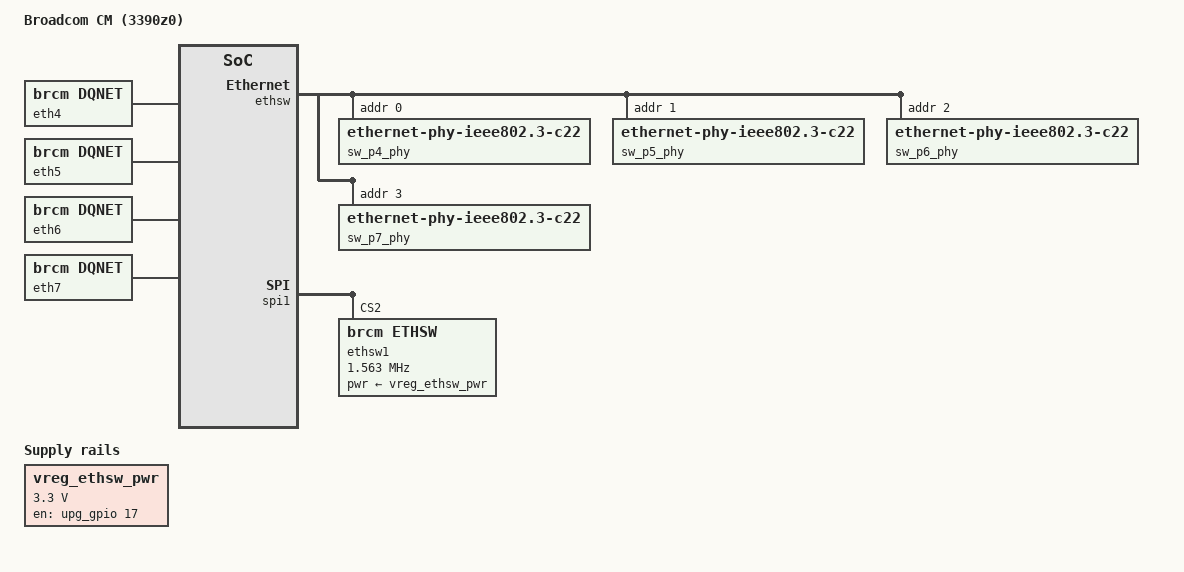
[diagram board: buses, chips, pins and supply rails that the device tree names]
/dts-v1/;

/ {
	model = "Broadcom CM (3390z0)";
	compatible = "brcm,bcm3390z0", "brcm,brcmstb";
	subsystem = "rg";
	#address-cells = <0x2>;
	#size-cells = <0x2>;
	interrupt-parent = <0x1>;

	identifier {
		/* register offset */
		chipid_reg = < 0x20404000 0x204e6120 >;
		chipid_msk = < 0xffffffff 0x0000f000 >;
		chipid_val = < 0x33900060 0x0000a000 >;
		boardid_msk = < 0x0 >;
		boardid_val = < 0x0 >;
	};
};

/include/ "rg.3390b0-bolt.dtsi"
/include/ "rg.3390z0-bolt.dtsi"
/include/ "rg.3390-base.dtsi"
/include/ "rg.3390-wifi.dtsi"

/********************************************************************
 * any nodes that appear below are platform specific additions and
 * replacements.
 * The dtc will add or replace any properties in the nodes
 * below to the same nodes that appear in include files above.
 * If the property does not exist in the node above it will be added.
 * If the property does exist it will replace it.
 ********************************************************************/

&ethsw {
	mii-port = <4 0 1000>;
	rgmii-mode = <1>;
	sw_p4_phy: phy@0 {
		compatible = "ethernet-phy-ieee802.3-c22";
		reg = <0>;
		phy-mode = "rgmii";
	};

	sw_p5_phy: phy@1 {
		compatible = "ethernet-phy-ieee802.3-c22";
		reg = <1>;
		phy-mode = "rgmii";
	};
	sw_p6_phy: phy@2 {
		compatible = "ethernet-phy-ieee802.3-c22";
		reg = <2>;
		phy-mode = "rgmii";
	};
	sw_p7_phy: phy@3 {
		compatible = "ethernet-phy-ieee802.3-c22";
		reg = <3>;
		phy-mode = "rgmii";
	};
};


&spi1 {
	ethsw1@2 {
		reg = <2>;
		mdio_reg = <0x0d3c009c0 0x2c000000>;
		compatible = "brcm,ethsw";
		spi-max-frequency = <1563000>;
		dev-name   = "ethsw1";
		mii-port   = <7 0 1000>;
		imp-port   = <8 1000>;
		eee-support = <1>;
		subid-port-offset = <4>;
	        pwr-supply = <&vreg_ethsw_pwr>;
		/*
		 * Below are references to all possible phy's on the
		 * external switch chips supported. However, since the
		 * chips may or may not have the associated port & phy
		 * bonded out of the chip (i.e. the 53124 does not have
		 * port 0 bonded out) then they might not all be used.
		 * 53124 used sw_p1_phy..sw_p4_phy while 53134 uses
		 * sw_phy0_phy..sw_p3_phy.
		 */
		phy-handles = <&sw_p4_phy>,
			      <&sw_p5_phy>,
			      <&sw_p6_phy>,
			      <&sw_p7_phy>;


	};
};



&suntop_pmx {
	pinctrl-0 = <&spi_pins &extsw_pins>;
	spi_pins: spi_pins {
		pinctrl-single,bits = <
		0x060 0x10000000 0xf0000000 /* gpio_000 <-- RGMII1_RX_CLK */
		0x064 0x10000000 0xf0000000 /* gpio_008 <-- RGMII1_TXD_00 */
		0x064 0x01000000 0x0f000000 /* gpio_007 <-- MII_RXEN_RGMII1_RXCTL */
		0x064 0x00100000 0x00f00000 /* gpio_006 <-- RGMII1_TX_CLK */
		0x064 0x00010000 0x000f0000 /* gpio_005 <-- RGMII1_RXD_03 */
		0x064 0x00001000 0x0000f000 /* gpio_004 <-- RGMII1_RXD_02 */
		0x064 0x00000100 0x00000f00 /* gpio_003 <-- RGMII1_RXD_01 */
		0x064 0x00000010 0x000000f0 /* gpio_002 <-- RGMII1_RXD_00 */
		0x064 0x00000001 0x0000000f /* gpio_001 <-- RGMII1_TXEN_RGMII1_TXCTL */
		0x068 0x00010000 0x000f0000 /* gpio_013 <-- RGMII1_MDC */
		0x068 0x00001000 0x0000f000 /* gpio_012 <-- RGMII1_MDIO */
		0x068 0x00000100 0x00000f00 /* gpio_011 <-- RGMII1_TXD_03 */
		0x068 0x00000010 0x000000f0 /* gpio_010 <-- RGMII1_TXD_02 */
		0x068 0x00000001 0x0000000f /* gpio_009 <-- RGMII1_TXD_01 */
		0x084 0x01000000 0x0f000000 /* gpio_071 <-- SPI_M_SCK  */
		0x084 0x10000000 0xf0000000 /* gpio_072 <-- SPI_M_MOSI */
		0x088 0x00000001 0x0000000f /* gpio_073 <-- SPI_M_MISO */
		0x088 0x00000010 0x000000f0 /* gpio_074 <-- SPI_M_SS0B */
		0x088 0x00000100 0x00000f00 /* gpio_075 <-- SPI_M_SS1B */
		0x088 0x00001000 0x0000f000 /* gpio_076 <-- SPI_M_SS2B */
		>;
	};

	extsw_pins: extsw_pins {
		pinctrl-single,bits = <
		0x06c 0x00000000 0x0000000f /* gpio_017 <-- EXT_SW_PWR */
		>;
	};
};

&miimdiomux {
	rgmii0-tx-select = "unimac";
	rgmii1-tx-select = "p4";
	p7-rx-select = "runner";
	p4-rx-select = "rgmii1";
	unimac-rx-select = "rgmii0";
	unimac-mdio-select = "mdio0";
	switch-mdio-select = "mdio1";
};

/ {
	vreg_ethsw_pwr: vreg-ethsw-pwr {
		compatible = "regulator-fixed";
		regulator-name = "vreg-ethsw-pwr";
		regulator-min-microvolt = <3300000>;
		regulator-max-microvolt = <3300000>;
		gpio = <&upg_gpio 17 0>;
		enable-active-high;
		regulator-always-on;
	};

	eth4: ethernet4 {
		compatible = "brcm,dqnet";
		channel = <&qchan0>;
		dev-name = "eth4";
		if-id = <6>;		/* rdpa_if_lan5 */
		if-sub-id = <4>;	/* if-sub-id must match the first column in phy-port node */
		demux = "arl";
		link-type = "switch";
		connection-type = "ext_spi";
		brcm-tag;
	};


	eth5: ethernet5 {
		compatible = "brcm,dqnet";
		channel = <&qchan0>;
		dev-name = "eth5";
		if-id = <6>;		/* rdpa_if_lan5 */
		if-sub-id = <5>;	/* if-sub-id must match the first column in phy-port node */
		demux = "arl";
		link-type = "switch";
		connection-type = "ext_spi";
		brcm-tag;
	};

	eth6: ethernet6 {
		compatible = "brcm,dqnet";
		channel = <&qchan0>;
		dev-name = "eth6";
		if-id = <6>;		/* rdpa_if_lan5 */
		if-sub-id = <6>;	/* if-sub-id must match the first column in phy-port node */
		demux = "arl";
		link-type = "switch";
		connection-type = "ext_spi";
		brcm-tag;
	};

	eth7: ethernet7 {
		compatible = "brcm,dqnet";
		channel = <&qchan0>;
		dev-name = "eth7";
		if-id = <6>;		/* rdpa_if_lan5 */
		if-sub-id = <7>;	/* if-sub-id must match the first column in phy-port node */
		demux = "arl";
		link-type = "switch";
		connection-type = "ext_spi";
		brcm-tag;
	};



};
